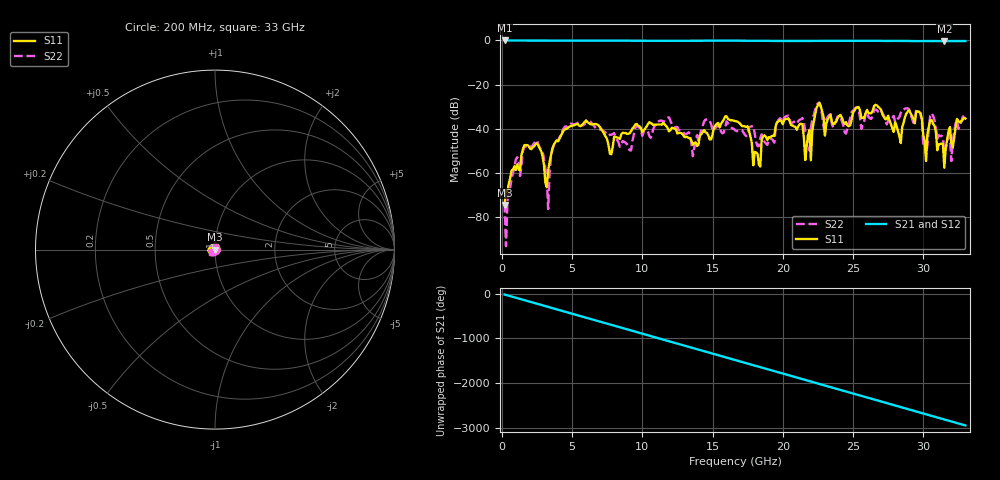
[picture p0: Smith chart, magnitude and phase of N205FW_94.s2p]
# GHZ S RI R 50
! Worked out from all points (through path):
!   329 points, 200 MHz to 33 GHz, reference 50 ohm
!   highest |S21| = -0.02 dB at 200 MHz (marker M1); lowest = -0.3 dB at 31.5 GHz (marker M2)
!   group delay of S21, straight-line fit = 248 ps
!   lowest |S11| = -74.3 dB at 200 MHz (marker M3), VSWR 1.00, Z = 50 + j0.0095 ohm
!   |S11| at or under -10 dB: start of sweep to end of sweep
!   |S22| runs from -93.0 to -28.1 dB; largest |S21 - S12| = 0.0022
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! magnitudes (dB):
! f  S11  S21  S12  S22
! 200 MHz  -74.3  0.0  0.0  -73.9
! 2.5 GHz  -46.5  -0.1  -0.1  -45.2
! 3.3 GHz  -58.8  -0.1  -0.1  -76.3
! 3.6 GHz  -48.9  -0.1  -0.1  -49.1
! 5.7 GHz  -38.2  -0.1  -0.1  -38.5
! 7.8 GHz  -51.5  -0.1  -0.1  -42.7
! 11.2 GHz  -38.0  -0.2  -0.2  -36.5
! 13.6 GHz  -47.2  -0.2  -0.2  -52.3
! 14.5 GHz  -41.5  -0.1  -0.1  -35.8
! 16.6 GHz  -36.5  -0.1  -0.1  -40.6
! 18.4 GHz  -57.1  -0.2  -0.2  -44.2
! 19.8 GHz  -36.0  -0.2  -0.2  -35.2
! 21.4 GHz  -37.9  -0.3  -0.3  -35.1
! 21.6 GHz  -54.1  -0.3  -0.2  -41.1
! 22.1 GHz  -41.0  -0.2  -0.2  -35.7
! 27.6 GHz  -36.2  -0.2  -0.2  -34.6
! 29.8 GHz  -32.9  -0.3  -0.3  -33.2
! 30.2 GHz  -54.5  -0.3  -0.3  -51.2
! 30.6 GHz  -36.0  -0.3  -0.3  -32.9
! 31.5 GHz  -57.6  -0.3  -0.3  -50.8
! 31.9 GHz  -39.2  -0.3  -0.3  -43.6
! 33 GHz  -35.3  -0.3  -0.3  -33.1
